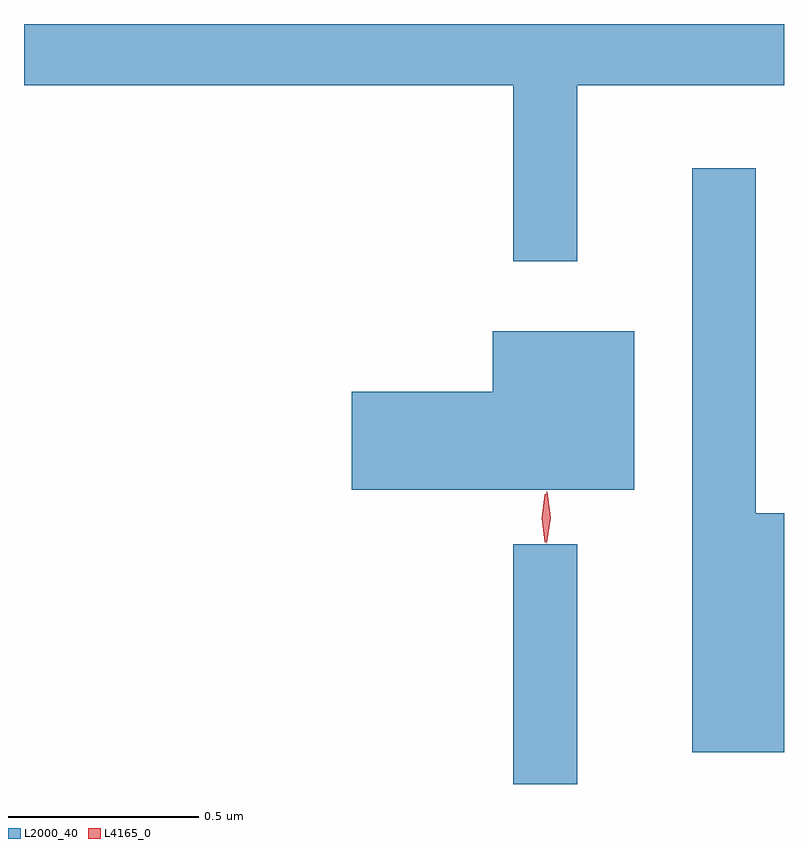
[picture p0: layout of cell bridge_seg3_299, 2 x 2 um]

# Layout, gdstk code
import gdstk
lib = gdstk.Library(unit=1e-6, precision=1e-09)
def R(c, l, rs):  # rectangles x0, y0, x1, y1
    for r in rs: c.add(gdstk.rectangle(r[:2], r[2:], *l))
def P(c, l, *ps):  # polygons
    for p in ps: c.add(gdstk.Polygon(p, *l))
L2000_40 = (2000, 40)
L4165_0 = (4165, 0)

bridge_seg3_299 = lib.new_cell('bridge_seg3_299')
R(bridge_seg3_299, L2000_40, [(1066.351,1124.177,1066.519,1124.808)])
P(bridge_seg3_299, L2000_40, [(1066.519,1126.016),(1067.063,1126.016),(1067.063,1126.177),(1065.063,1126.177),(1065.063,1126.016),(1066.351,1126.016),(1066.351,1125.553),(1066.519,1125.553)],
  [(1067.063,1124.889),(1066.989,1124.889),(1066.989,1125.798),(1066.821,1125.798),(1066.821,1124.261),(1067.063,1124.261)],
  [(1066.669,1125.369),(1066.296,1125.369),(1066.296,1125.209),(1065.926,1125.209),(1065.926,1124.951),(1066.669,1124.951)])
P(bridge_seg3_299, L4165_0, [(1066.438,1124.81),(1066.438,1124.81),(1066.429,1124.878),(1066.439,1124.946),(1066.44,1124.946),(1066.44,1124.946),(1066.449,1124.878),(1066.439,1124.81)],
  [(1066.434,1124.813),(1066.425,1124.876),(1066.434,1124.939),(1066.435,1124.94),(1066.436,1124.939),(1066.445,1124.876),(1066.436,1124.813),(1066.435,1124.813)])

lib.write_gds('bridge_seg3_299.gds')
